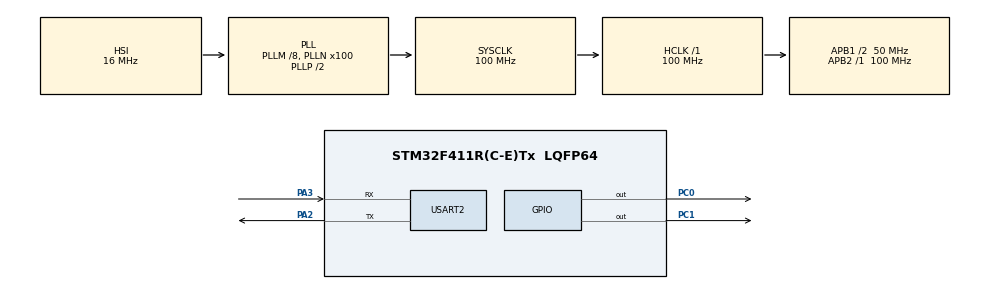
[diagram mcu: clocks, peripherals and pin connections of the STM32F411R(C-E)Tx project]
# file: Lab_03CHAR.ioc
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Mcu.Family=STM32F4
Mcu.Name=STM32F411R(C-E)Tx
Mcu.Package=LQFP64
NVIC.PriorityGroup=NVIC_PRIORITYGROUP_4
PA2.Mode=Asynchronous
PA2.Signal=USART2_TX
PA3.Mode=Asynchronous
PA3.Signal=USART2_RX
PC0.Signal=GPIO_Output
PC1.Signal=GPIO_Output
ProjectManager.HeapSize=0x200
ProjectManager.StackSize=0x400
ProjectManager.TargetToolchain=MDK-ARM V5
RCC.48MHZClocksFreq_Value=50000000
RCC.AHBFreq_Value=100000000
RCC.APB1CLKDivider=RCC_HCLK_DIV2
RCC.APB1Freq_Value=50000000
RCC.APB1TimFreq_Value=100000000
RCC.APB2Freq_Value=100000000
RCC.APB2TimFreq_Value=100000000
RCC.CortexFreq_Value=100000000
RCC.HCLKFreq_Value=100000000
RCC.HSE_VALUE=25000000
RCC.HSI_VALUE=16000000
RCC.LSE_VALUE=32768
RCC.PLLM=8
RCC.PLLN=100
RCC.SYSCLKFreq_VALUE=100000000
RCC.SYSCLKSource=RCC_SYSCLKSOURCE_PLLCLK
RCC.VCOOutputFreq_Value=200000000
USART2.VirtualMode=VM_ASYNC
board=custom

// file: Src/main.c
/* USER CODE BEGIN Header */
/**
  ******************************************************************************
  * @file           : main.c
  * @brief          : Main program body
  ******************************************************************************
  ** This notice applies to any and all portions of this file
  * that are not between comment pairs USER CODE BEGIN and
  * USER CODE END. Other portions of this file, whether
  * inserted by the user or by software development tools
  * are owned by their respective copyright owners.
  *
  * COPYRIGHT(c) 2019 STMicroelectronics
  *
  * Redistribution and use in source and binary forms, with or without modification,
  * are permitted provided that the following conditions are met:
  *   1. Redistributions of source code must retain the above copyright notice,
  *      this list of conditions and the following disclaimer.
  *   2. Redistributions in binary form must reproduce the above copyright notice,
  *      this list of conditions and the following disclaimer in the documentation
  *      and/or other materials provided with the distribution.
  *   3. Neither the name of STMicroelectronics nor the names of its contributors
  *      may be used to endorse or promote products derived from this software
  *      without specific prior written permission.
  *
  * THIS SOFTWARE IS PROVIDED BY THE COPYRIGHT HOLDERS AND CONTRIBUTORS "AS IS"
  * AND ANY EXPRESS OR IMPLIED WARRANTIES, INCLUDING, BUT NOT LIMITED TO, THE
  * IMPLIED WARRANTIES OF MERCHANTABILITY AND FITNESS FOR A PARTICULAR PURPOSE ARE
  * DISCLAIMED. IN NO EVENT SHALL THE COPYRIGHT HOLDER OR CONTRIBUTORS BE LIABLE
  * FOR ANY DIRECT, INDIRECT, INCIDENTAL, SPECIAL, EXEMPLARY, OR CONSEQUENTIAL
  * DAMAGES (INCLUDING, BUT NOT LIMITED TO, PROCUREMENT OF SUBSTITUTE GOODS OR
  * SERVICES; LOSS OF USE, DATA, OR PROFITS; OR BUSINESS INTERRUPTION) HOWEVER
  * CAUSED AND ON ANY THEORY OF LIABILITY, WHETHER IN CONTRACT, STRICT LIABILITY,
  * OR TORT (INCLUDING NEGLIGENCE OR OTHERWISE) ARISING IN ANY WAY OUT OF THE USE
  * OF THIS SOFTWARE, EVEN IF ADVISED OF THE POSSIBILITY OF SUCH DAMAGE.
  *
  ******************************************************************************
  */
/* USER CODE END Header */

#include "main.h"
#include "usart.h"
#include "gpio.h"

/* USER CODE BEGIN Includes */
#include "String.h"
/* USER CODE END Includes */

/* USER CODE BEGIN PV */
int run = 1;
char news[] = "\n\r";
char menu[]="display blinking LED PRESS (r,R,g,G)\n\rdisplay group members press m ,M \n\rquit PRESS q\n\r";
char ch1;
char name1[] = "PARNUMAT NIROPAS\n\r5940203876";
char name2[] = "ATTHAPOL MONGCKOL\n\r5940205861\n\r";
char recevie[] = "QUIT";
char alert[]= "Unknow Command";
char input[] = "input => ";
/* USER CODE END PV */

void SystemClock_Config(void);

int main(void)
{

  /* MCU Configuration--------------------------------------------------------*/

  /* Reset of all peripherals, Initializes the Flash interface and the Systick. */
  HAL_Init();

  /* Configure the system clock */
  SystemClock_Config();

  /* Initialize all configured peripherals */
  MX_GPIO_Init();
  MX_USART2_UART_Init();
  /* USER CODE BEGIN 2 */
	    HAL_UART_Transmit(&huart2, (uint8_t*)menu,strlen(menu),1000);
			HAL_UART_Transmit(&huart2, (uint8_t*)input,strlen(input),1000);
			HAL_UART_Transmit(&huart2, (uint8_t*)news,strlen(news),1000);
  /* USER CODE END 2 */

  /* Infinite loop */
  /* USER CODE BEGIN WHILE */
   while (run)
 {
    /* USER CODE END WHILE */

    /* USER CODE BEGIN 3 */
	 while(__HAL_UART_GET_FLAG(&huart2,UART_FLAG_RXNE) == RESET){}
	 HAL_UART_Receive(&huart2, (uint8_t*) &ch1, 1, 1000);
	 HAL_UART_Transmit(&huart2, (uint8_t*)input,strlen(input),1000);
	 HAL_UART_Transmit(&huart2, (uint8_t*)&ch1,1,1000);
	 HAL_UART_Transmit(&huart2, (uint8_t*)news,strlen(news),1000);
		 if(ch1 == 'r' ||ch1 == 'R'){
			 int n =0;
			 while(n<3){
				 HAL_GPIO_WritePin(GPIOC,GPIO_PIN_0,GPIO_PIN_SET);
				 HAL_Delay(300);
				 HAL_GPIO_WritePin(GPIOC,GPIO_PIN_0,GPIO_PIN_RESET);
				 HAL_Delay(300);
				 n++;
			 }
		 }else if(ch1 == 'g' ||ch1 == 'G'){
				 int n =0;
			 while(n<3){
				 HAL_GPIO_WritePin(GPIOC,GPIO_PIN_1,GPIO_PIN_SET);
				 HAL_Delay(300);
				 HAL_GPIO_WritePin(GPIOC,GPIO_PIN_1,GPIO_PIN_RESET);
				 HAL_Delay(300);
				 n++;
			 }
		 } else if(ch1 == 'q'||ch1 == 'Q'){
			 HAL_UART_Transmit(&huart2, (uint8_t*)&recevie,strlen(recevie),1000);
	     HAL_UART_Transmit(&huart2, (uint8_t*)news,strlen(news),1000);
			 run = 0;
		}else if(ch1 == 'm'||ch1 == 'M'){
			HAL_UART_Transmit(&huart2, (uint8_t*)name1,strlen(name1),1000);
	    HAL_UART_Transmit(&huart2, (uint8_t*)news, strlen(news),1000);
      HAL_UART_Transmit(&huart2, (uint8_t*)name2,strlen(name2),1000);
			HAL_UART_Transmit(&huart2, (uint8_t*)news, strlen(news),1000);
		}else{
			HAL_UART_Transmit(&huart2, (uint8_t*)alert, strlen(alert),1000);
			HAL_UART_Transmit(&huart2, (uint8_t*)news,strlen(news),1000);
		}
}
  /* USER CODE END 3 */
}

void SystemClock_Config(void)
{
  RCC_OscInitTypeDef RCC_OscInitStruct = {0};
  RCC_ClkInitTypeDef RCC_ClkInitStruct = {0};

  /**Configure the main internal regulator output voltage
  */
  __HAL_RCC_PWR_CLK_ENABLE();
  __HAL_PWR_VOLTAGESCALING_CONFIG(PWR_REGULATOR_VOLTAGE_SCALE1);
  /**Initializes the CPU, AHB and APB busses clocks
  */
  RCC_OscInitStruct.OscillatorType = RCC_OSCILLATORTYPE_HSI;
  RCC_OscInitStruct.HSIState = RCC_HSI_ON;
  RCC_OscInitStruct.HSICalibrationValue = RCC_HSICALIBRATION_DEFAULT;
  RCC_OscInitStruct.PLL.PLLState = RCC_PLL_ON;
  RCC_OscInitStruct.PLL.PLLSource = RCC_PLLSOURCE_HSI;
  RCC_OscInitStruct.PLL.PLLM = 8;
  RCC_OscInitStruct.PLL.PLLN = 100;
  RCC_OscInitStruct.PLL.PLLP = RCC_PLLP_DIV2;
  RCC_OscInitStruct.PLL.PLLQ = 4;
  if (HAL_RCC_OscConfig(&RCC_OscInitStruct) != HAL_OK)
  {
    Error_Handler();
  }
  /**Initializes the CPU, AHB and APB busses clocks
  */
  RCC_ClkInitStruct.ClockType = RCC_CLOCKTYPE_HCLK|RCC_CLOCKTYPE_SYSCLK
                              |RCC_CLOCKTYPE_PCLK1|RCC_CLOCKTYPE_PCLK2;
  RCC_ClkInitStruct.SYSCLKSource = RCC_SYSCLKSOURCE_PLLCLK;
  RCC_ClkInitStruct.AHBCLKDivider = RCC_SYSCLK_DIV1;
  RCC_ClkInitStruct.APB1CLKDivider = RCC_HCLK_DIV2;
  RCC_ClkInitStruct.APB2CLKDivider = RCC_HCLK_DIV1;

  if (HAL_RCC_ClockConfig(&RCC_ClkInitStruct, FLASH_LATENCY_3) != HAL_OK)
  {
    Error_Handler();
  }
}

void Error_Handler(void)
{
}

/************************ (C) COPYRIGHT STMicroelectronics *****END OF FILE****/
